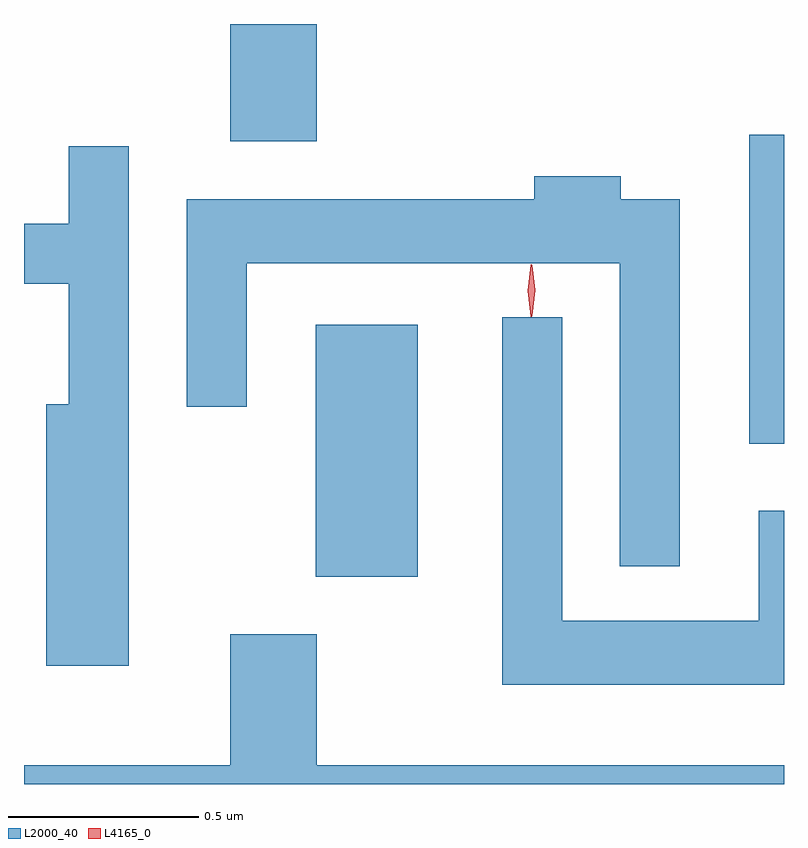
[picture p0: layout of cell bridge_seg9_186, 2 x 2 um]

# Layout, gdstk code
import gdstk
lib = gdstk.Library(unit=1e-6, precision=1e-09)
def R(c, l, rs):  # rectangles x0, y0, x1, y1
    for r in rs: c.add(gdstk.rectangle(r[:2], r[2:], *l))
def P(c, l, *ps):  # polygons
    for p in ps: c.add(gdstk.Polygon(p, *l))
L2000_40 = (2000, 40)
L4165_0 = (4165, 0)

bridge_seg9_186 = lib.new_cell('bridge_seg9_186')
R(bridge_seg9_186, L2000_40, [(1414.066,2056.961,1414.334,2057.624), (1415.206,2057.311,1415.298,2058.124), (1413.841,2058.106,1414.069,2058.415)])
P(bridge_seg9_186, L2000_40, [(1413.574,2058.093),(1413.416,2058.093),(1413.416,2057.889),(1413.298,2057.889),(1413.298,2057.731),(1413.416,2057.731),(1413.416,2057.414),(1413.356,2057.414),(1413.356,2056.726),(1413.574,2056.726)],
  [(1415.024,2057.954),(1414.869,2057.954),(1414.869,2058.014),(1414.641,2058.014),(1414.641,2057.954),(1413.726,2057.954),(1413.726,2057.408),(1413.884,2057.408),(1413.884,2057.786),(1414.866,2057.786),(1414.866,2056.988),(1415.024,2056.988)],
  [(1415.298,2057.134),(1415.231,2057.134),(1415.231,2056.844),(1414.714,2056.844),(1414.714,2057.643),(1414.556,2057.643),(1414.556,2056.676),(1415.298,2056.676)],
  [(1415.298,2056.464),(1414.069,2056.464),(1414.069,2056.809),(1413.841,2056.809),(1413.841,2056.464),(1413.298,2056.464),(1413.298,2056.415),(1415.298,2056.415)])
P(bridge_seg9_186, L4165_0, [(1414.632,2057.644),(1414.623,2057.713),(1414.632,2057.782),(1414.633,2057.783),(1414.634,2057.782),(1414.643,2057.713),(1414.634,2057.644),(1414.633,2057.644)],
  [(1414.634,2057.647),(1414.634,2057.647),(1414.624,2057.714),(1414.634,2057.78),(1414.634,2057.78),(1414.635,2057.78),(1414.644,2057.714),(1414.635,2057.647)])

lib.write_gds('bridge_seg9_186.gds')
